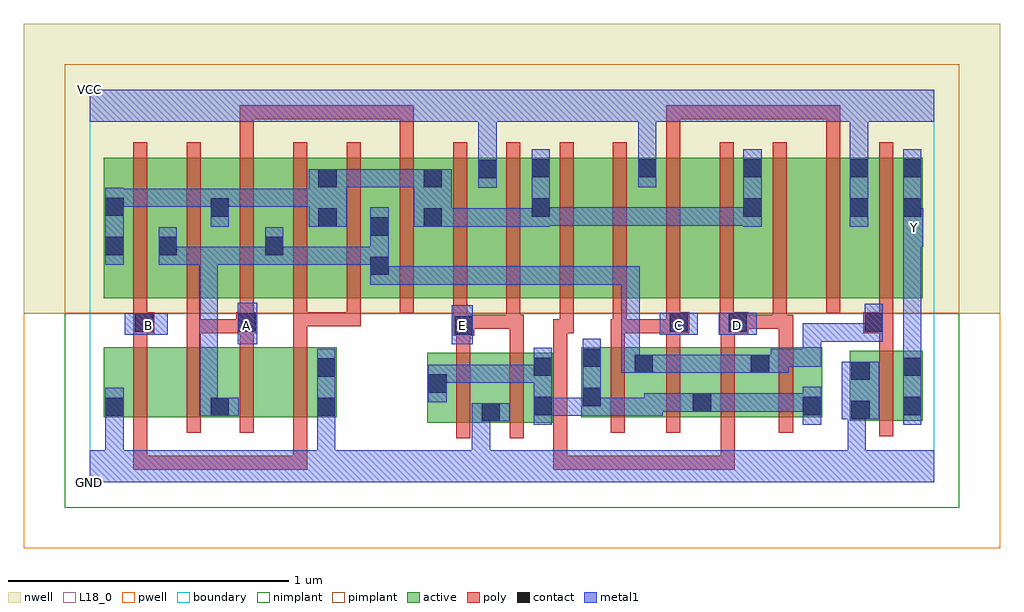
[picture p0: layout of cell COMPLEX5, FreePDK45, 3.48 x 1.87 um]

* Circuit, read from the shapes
.subckt COMPLEX5 A B C D E GND VCC Y
M1 n1 B GND VSUBS nfet w=0.25u l=0.05u
M2 n2 A n1 VSUBS nfet w=0.25u l=0.05u
M3 n3 A n2 VSUBS nfet w=0.25u l=0.05u
M4 GND B n3 VSUBS nfet w=0.25u l=0.05u
M5 GND E n4 VSUBS nfet w=0.25u l=0.05u m=2
M6 n2 C n4 VSUBS nfet w=0.25u l=0.05u m=2
M7 n2 D n4 VSUBS nfet w=0.25u l=0.05u m=2
M8 Y n2 GND VSUBS nfet w=0.25u l=0.05u
M9 n2 B n5 n6 pfet w=0.5u l=0.05u m=3
M10 n5 A n2 n6 pfet w=0.5u l=0.05u m=3
M11 VCC E n5 n6 pfet w=0.5u l=0.05u m=2
M12 n7 D n5 n6 pfet w=0.5u l=0.05u
M13 VCC C n7 n6 pfet w=0.5u l=0.05u
M14 n8 C VCC n6 pfet w=0.5u l=0.05u
M15 n5 D n8 n6 pfet w=0.5u l=0.05u
M16 n9 D n5 n6 pfet w=0.5u l=0.05u
M17 VCC C n9 n6 pfet w=0.5u l=0.05u
M18 Y n2 VCC n6 pfet w=0.5u l=0.05u
.ends

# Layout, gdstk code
import gdstk
lib = gdstk.Library(unit=1e-6, precision=1e-09)
def R(c, l, rs):  # rectangles x0, y0, x1, y1
    for r in rs: c.add(gdstk.rectangle(r[:2], r[2:], *l))
def A(c, l, x, y, w, h, nx, ny, dx, dy):  # array of equal rectangles
    R(c, l, [(x+i*dx, y+j*dy, x+i*dx+w, y+j*dy+h) for i in range(nx) for j in range(ny)])
active = (1, 0)
pwell = (2, 0)
nwell = (3, 0)
nimplant = (4, 0)
pimplant = (5, 0)
poly = (9, 0)
contact = (10, 0)
metal1 = (11, 0)
L18_0 = (18, 0)
boundary = (235, 0)

complex5 = lib.new_cell('COMPLEX5')
R(complex5, active, [(1.202,0.212,1.467,0.462), (1.392,0.212,1.652,0.462), (1.392,0.212,1.467,0.342), (1.577,0.212,1.652,0.462), (2.71,0.22,2.97,0.47), (2.71,0.22,2.785,0.47), (0.05,0.232,0.125,0.482), (0.05,0.232,0.275,0.482), (0.275,0.232,0.5,0.482), (0.425,0.232,0.5,0.467), (0.425,0.232,0.655,0.482), (0.655,0.232,0.88,0.482), (0.805,0.232,0.88,0.482), (1.752,0.232,2.012,0.482), (1.752,0.232,1.827,0.482), (1.937,0.232,2.22,0.482), (2.145,0.232,2.427,0.482), (2.352,0.232,2.612,0.482), (2.537,0.232,2.612,0.482), (2.895,0.235,2.97,0.47), (2.145,0.247,2.22,0.405), (1.202,0.257,1.277,0.462), (1.937,0.297,2.012,0.467), (2.352,0.297,2.427,0.46), (0.05,0.657,0.125,1.157), (0.05,0.657,0.315,1.157), (0.24,0.657,0.315,1.07), (0.24,0.657,0.5,1.157), (0.425,0.657,0.695,1.157), (0.62,0.657,0.885,1.157), (0.62,0.657,0.695,1.07), (0.81,0.657,0.885,1.157), (0.81,0.657,1.07,1.157), (0.995,0.657,1.26,1.157), (0.995,0.657,1.07,1.07), (1.185,0.657,1.26,1.157), (1.185,0.657,1.455,1.157), (1.38,0.657,1.645,1.157), (1.57,0.657,1.645,1.157), (1.57,0.657,1.795,1.157), (1.795,0.657,2.025,1.157), (1.95,0.657,2.175,1.157), (2.175,0.657,2.4,1.157), (2.325,0.657,2.4,1.157), (2.325,0.657,2.555,1.157), (2.555,0.657,2.78,1.157), (2.705,0.657,2.78,1.157), (2.705,0.657,2.97,1.157), (2.895,0.657,2.97,1.157), (0.425,0.777,0.5,1.157), (1.38,0.782,1.455,1.157), (1.95,0.782,2.025,1.157)])
R(complex5, pwell, [(-0.235,-0.235,3.245,0.602)])
R(complex5, nwell, [(-0.235,0.602,3.245,1.635)])
R(complex5, nimplant, [(-0.09,-0.09,3.1,0.602)])
R(complex5, pimplant, [(-0.09,0.602,3.1,1.49)])
A(complex5, poly, 0.155, 0.177, 0.05, 0.36, 4, 1, 0.19, 0)
A(complex5, poly, 0.155, 0.487, 0.05, 0.095, 3, 1, 0.19, 0)
A(complex5, poly, 0.535, 0.557, 0.05, 0.095, 3, 1, 0.19, 0)
A(complex5, poly, 0.155, 0.602, 0.05, 0.61, 15, 1, 0.19, 0)
R(complex5, poly, [(0.155,0.045,0.205,0.095), (0.155,0.045,0.205,0.095), (0.155,0.045,0.205,0.095), (0.155,0.045,0.205,0.227), (0.155,0.045,0.362,0.095), (0.312,0.045,0.362,0.095), (0.312,0.045,0.362,0.095), (0.312,0.045,0.362,0.095), (0.312,0.045,0.585,0.095), (0.535,0.045,0.585,0.095), (0.535,0.045,0.775,0.095), (0.725,0.045,0.775,0.095), (0.725,0.045,0.775,0.095), (0.725,0.045,0.775,0.095), (0.725,0.045,0.775,0.227), (1.652,0.045,1.702,0.095), (1.652,0.045,1.702,0.095), (1.652,0.045,1.702,0.095), (1.652,0.045,1.702,0.095), (1.652,0.045,1.702,0.095), (1.652,0.045,1.702,0.095), (1.652,0.045,1.702,0.095), (1.652,0.045,1.915,0.095), (1.652,0.045,1.702,0.582), (1.865,0.045,1.915,0.095), (1.865,0.045,1.915,0.095), (1.865,0.045,1.915,0.095), (1.865,0.045,2.047,0.095), (1.997,0.045,2.047,0.095), (1.997,0.045,2.047,0.095), (1.997,0.045,2.047,0.095), (1.997,0.045,2.3,0.095), (2.25,0.045,2.3,0.095), (2.25,0.045,2.3,0.227), (1.307,0.157,1.357,0.517), (1.497,0.157,1.547,0.517), (2.815,0.165,2.865,0.525), (1.857,0.177,1.907,0.537), (2.055,0.177,2.105,0.537), (2.25,0.177,2.3,0.537), (2.457,0.177,2.507,0.537), (1.307,0.467,1.357,0.572), (1.497,0.467,1.547,0.597), (2.815,0.475,2.865,0.582), (0.725,0.487,0.775,0.607), (1.857,0.487,1.907,0.582), (2.055,0.487,2.105,0.582), (2.25,0.487,2.3,0.582), (2.457,0.487,2.507,0.597), (1.295,0.522,1.37,0.597), (0.155,0.532,0.23,0.607), (0.345,0.532,0.395,0.582), (0.345,0.532,0.395,0.652), (0.345,0.532,0.572,0.582), (0.522,0.532,0.572,0.582), (0.522,0.532,0.572,0.582), (0.522,0.532,0.597,0.607), (1.652,0.532,1.725,0.582), (1.675,0.532,1.725,0.652), (1.857,0.532,1.915,0.582), (1.865,0.532,1.915,0.582), (1.865,0.532,1.915,0.582), (1.865,0.532,2.105,0.582), (1.865,0.532,1.915,0.652), (2.055,0.532,2.137,0.607), (2.245,0.532,2.347,0.607), (2.757,0.532,2.865,0.607), (1.295,0.547,1.345,0.652), (1.32,0.547,1.37,0.597), (1.32,0.547,1.37,0.597), (1.32,0.547,1.535,0.597), (1.485,0.547,1.535,0.652), (1.485,0.547,1.547,0.597), (2.297,0.547,2.485,0.597), (2.435,0.547,2.485,0.597), (2.435,0.547,2.485,0.597), (2.435,0.547,2.485,0.652), (2.435,0.547,2.507,0.597), (0.155,0.557,0.205,0.652), (0.725,0.557,0.775,0.607), (0.725,0.557,0.965,0.607), (0.915,0.557,0.965,0.607), (0.915,0.557,0.965,0.607), (0.915,0.557,0.965,0.607), (2.055,0.557,2.105,0.652), (2.245,0.557,2.295,0.652), (2.815,0.557,2.865,0.652), (0.535,1.162,0.585,1.345), (1.105,1.162,1.155,1.345), (2.055,1.162,2.105,1.345), (2.625,1.162,2.675,1.345), (0.535,1.295,0.585,1.345), (0.535,1.295,0.717,1.345), (0.667,1.295,0.717,1.345), (0.667,1.295,0.717,1.345), (0.667,1.295,0.717,1.345), (0.667,1.295,0.907,1.345), (0.857,1.295,0.907,1.345), (0.857,1.295,0.907,1.345), (0.857,1.295,0.907,1.345), (0.857,1.295,1.155,1.345), (1.105,1.295,1.155,1.345), (1.105,1.295,1.155,1.345), (1.105,1.295,1.155,1.345), (2.055,1.295,2.105,1.345), (2.055,1.295,2.105,1.345), (2.055,1.295,2.105,1.345), (2.055,1.295,2.347,1.345), (2.297,1.295,2.347,1.345), (2.297,1.295,2.347,1.345), (2.297,1.295,2.347,1.345), (2.297,1.295,2.48,1.345), (2.43,1.295,2.48,1.345), (2.43,1.295,2.675,1.345), (2.625,1.295,2.675,1.345), (2.625,1.295,2.675,1.345), (2.625,1.295,2.675,1.345)])
R(complex5, contact, [(1.397,0.217,1.462,0.282), (2.715,0.225,2.78,0.29), (0.055,0.237,0.12,0.302), (0.43,0.237,0.495,0.302), (0.81,0.237,0.875,0.302), (1.582,0.24,1.647,0.305), (2.542,0.24,2.607,0.305), (2.9,0.24,2.965,0.305), (2.15,0.252,2.215,0.317), (1.757,0.272,1.822,0.337), (1.207,0.32,1.272,0.385), (2.715,0.365,2.78,0.43), (0.81,0.377,0.875,0.442), (1.582,0.38,1.647,0.445), (2.9,0.38,2.965,0.445), (1.942,0.39,2.007,0.455), (2.357,0.39,2.422,0.455), (1.757,0.412,1.822,0.477), (1.3,0.527,1.365,0.592), (0.16,0.537,0.225,0.602), (0.527,0.537,0.592,0.602), (2.067,0.537,2.132,0.602), (2.277,0.537,2.342,0.602), (2.762,0.537,2.827,0.602), (1,0.74,1.065,0.805), (0.055,0.81,0.12,0.875), (0.245,0.81,0.31,0.875), (0.625,0.81,0.69,0.875), (1,0.88,1.065,0.945), (0.815,0.912,0.88,0.977), (1.19,0.912,1.255,0.977), (0.43,0.947,0.495,1.012), (1.575,0.947,1.64,1.012), (2.33,0.947,2.395,1.012), (2.71,0.947,2.775,1.012), (2.9,0.947,2.965,1.012), (0.055,0.95,0.12,1.015), (0.815,1.052,0.88,1.117), (1.19,1.052,1.255,1.117), (1.385,1.085,1.45,1.15), (1.575,1.087,1.64,1.152), (1.955,1.087,2.02,1.152), (2.33,1.087,2.395,1.152), (2.71,1.087,2.775,1.152), (2.9,1.087,2.965,1.152)])
R(complex5, metal1, [(0,0,3.01,0.115), (0.055,0.05,0.12,0.267), (0.81,0.05,0.875,0.115), (0.81,0.05,0.875,0.115), (0.81,0.05,0.875,0.115), (0.81,0.05,0.875,0.115), (0.81,0.05,0.875,0.267), (1.362,0.05,1.427,0.115), (1.362,0.05,1.427,0.115), (1.362,0.05,1.427,0.115), (1.362,0.05,1.427,0.115), (1.362,0.05,1.427,0.282), (2.702,0.05,2.767,0.115), (2.702,0.05,2.767,0.115), (2.702,0.05,2.767,0.29), (0.055,0.202,0.12,0.267), (0.055,0.202,0.12,0.267), (0.055,0.202,0.12,0.267), (0.055,0.202,0.12,0.267), (0.055,0.202,0.12,0.337), (0.81,0.202,0.875,0.477), (1.582,0.205,1.647,0.48), (2.542,0.205,2.607,0.34), (2.9,0.205,2.965,0.48), (1.362,0.217,1.497,0.282), (2.68,0.225,2.815,0.43), (2.702,0.225,2.767,0.29), (2.702,0.225,2.767,0.29), (0.39,0.237,0.455,0.84), (0.39,0.237,0.53,0.302), (1.582,0.237,1.647,0.302), (1.582,0.237,1.647,0.302), (1.582,0.237,1.822,0.302), (1.757,0.237,1.822,0.302), (1.757,0.237,1.822,0.302), (1.757,0.237,1.822,0.302), (1.757,0.237,1.822,0.302), (1.757,0.237,1.822,0.512), (1.757,0.237,2.042,0.302), (1.977,0.237,2.042,0.302), (1.977,0.237,2.042,0.302), (1.977,0.237,2.042,0.317), (1.977,0.252,2.18,0.317), (2.115,0.252,2.25,0.317), (2.185,0.252,2.25,0.317), (2.185,0.252,2.25,0.317), (2.185,0.252,2.47,0.317), (2.405,0.252,2.47,0.317), (2.405,0.252,2.47,0.317), (2.405,0.252,2.47,0.317), (2.405,0.252,2.607,0.317), (1.207,0.285,1.272,0.42), (1.207,0.355,1.272,0.42), (1.207,0.355,1.272,0.42), (1.207,0.355,1.502,0.42), (1.437,0.355,1.502,0.42), (1.437,0.355,1.502,0.42), (1.437,0.355,1.502,0.42), (1.437,0.355,1.647,0.42), (1.895,0.39,1.96,0.77), (1.895,0.39,2.042,0.455), (1.977,0.39,2.042,0.455), (1.977,0.39,2.042,0.455), (1.977,0.39,2.207,0.455), (2.142,0.39,2.207,0.455), (2.142,0.39,2.207,0.455), (2.142,0.39,2.207,0.455), (2.142,0.39,2.387,0.455), (2.322,0.39,2.457,0.455), (2.392,0.39,2.492,0.455), (2.427,0.39,2.492,0.477), (2.427,0.412,2.607,0.477), (2.542,0.412,2.607,0.477), (2.542,0.412,2.607,0.567), (2.9,0.415,2.965,0.907), (0.527,0.492,0.597,0.64), (1.29,0.492,1.365,0.632), (2.542,0.502,2.607,0.567), (2.542,0.502,2.63,0.567), (2.565,0.502,2.63,0.567), (2.565,0.502,2.827,0.567), (2.762,0.502,2.827,0.567), (2.762,0.502,2.827,0.567), (2.762,0.502,2.827,0.637), (0.125,0.527,0.277,0.602), (2.032,0.527,2.167,0.605), (2.242,0.527,2.377,0.605), (1,0.705,1.065,0.77), (1,0.705,1.065,0.77), (1,0.705,1.065,0.98), (1,0.705,1.202,0.77), (1.137,0.705,1.202,0.77), (1.137,0.705,1.202,0.77), (1.137,0.705,1.202,0.77), (1.137,0.705,1.502,0.77), (1.437,0.705,1.502,0.77), (1.437,0.705,1.502,0.77), (1.437,0.705,1.502,0.77), (1.437,0.705,1.502,0.77), (1.437,0.705,1.502,0.77), (1.437,0.705,1.685,0.77), (1.62,0.705,1.685,0.77), (1.62,0.705,1.685,0.77), (1.62,0.705,1.685,0.77), (1.62,0.705,1.822,0.77), (1.757,0.705,1.822,0.77), (1.757,0.705,1.822,0.77), (1.757,0.705,1.822,0.77), (1.757,0.705,1.96,0.77), (1.895,0.705,1.96,0.77), (0.055,0.775,0.12,1.05), (0.245,0.775,0.31,0.84), (0.245,0.775,0.31,0.84), (0.245,0.775,0.31,0.91), (0.245,0.775,0.455,0.84), (0.39,0.775,0.455,0.84), (0.39,0.775,0.455,0.84), (0.39,0.775,0.455,0.84), (0.39,0.775,0.455,0.84), (0.39,0.775,0.455,0.84), (0.39,0.775,0.69,0.84), (0.625,0.775,0.69,0.84), (0.625,0.775,0.69,0.84), (0.625,0.775,0.69,0.91), (0.625,0.775,0.927,0.84), (0.862,0.775,0.927,0.84), (0.862,0.775,0.927,0.84), (0.862,0.775,0.927,0.84), (0.862,0.775,1.065,0.84), (2.9,0.842,2.972,0.977), (0.43,0.912,0.495,1.047), (0.78,0.912,0.915,1.117), (1.155,0.912,1.29,1.117), (1.225,0.912,1.29,0.977), (1.225,0.912,1.29,0.977), (1.225,0.912,1.502,0.977), (1.437,0.912,1.502,0.977), (1.437,0.912,1.502,0.977), (1.437,0.912,1.502,0.977), (1.437,0.912,1.64,0.977), (1.575,0.912,1.64,1.187), (2.33,0.912,2.395,1.187), (2.71,0.912,2.775,1.187), (2.9,0.912,2.965,0.977), (2.9,0.912,2.965,1.187), (1.575,0.915,1.64,0.98), (1.575,0.915,1.64,0.98), (1.575,0.915,1.822,0.98), (1.757,0.915,1.822,0.98), (1.757,0.915,1.822,0.98), (1.757,0.915,1.822,0.98), (1.757,0.915,1.96,0.98), (1.895,0.915,1.96,0.98), (1.895,0.915,1.96,0.98), (1.895,0.915,1.96,0.98), (1.895,0.915,2.25,0.98), (2.185,0.915,2.25,0.98), (2.185,0.915,2.25,0.98), (2.185,0.915,2.25,0.98), (2.185,0.915,2.395,0.98), (0.055,0.982,0.12,1.047), (0.055,0.982,0.12,1.047), (0.055,0.982,0.257,1.047), (0.192,0.982,0.257,1.047), (0.192,0.982,0.257,1.047), (0.192,0.982,0.257,1.047), (0.192,0.982,0.495,1.047), (0.43,0.982,0.495,1.047), (0.43,0.982,0.495,1.047), (0.43,0.982,0.632,1.047), (0.567,0.982,0.632,1.047), (0.567,0.982,0.632,1.047), (0.567,0.982,0.632,1.047), (0.567,0.982,0.845,1.047), (1.385,1.05,1.45,1.185), (0.85,1.052,0.915,1.117), (0.85,1.052,0.915,1.117), (0.85,1.052,1.065,1.117), (1,1.052,1.065,1.117), (1,1.052,1.065,1.117), (1,1.052,1.065,1.117), (1,1.052,1.22,1.117), (1.955,1.052,2.02,1.187), (1.385,1.12,1.45,1.185), (1.385,1.12,1.45,1.185), (1.385,1.12,1.45,1.35), (1.955,1.122,2.02,1.187), (1.955,1.122,2.02,1.187), (1.955,1.122,2.02,1.35), (2.71,1.122,2.775,1.35), (0,1.285,3.01,1.4), (2.71,1.285,2.775,1.35), (2.71,1.285,2.775,1.35)])
A(complex5, L18_0, 0.527, 0.527, 0.065, 0.065, 3, 1, 0.77, 0)
R(complex5, L18_0, [(0,0,3.01,0.115), (0.055,0.05,0.12,0.267), (0.81,0.05,0.875,0.115), (0.81,0.05,0.875,0.115), (0.81,0.05,0.875,0.115), (0.81,0.05,0.875,0.115), (0.81,0.05,0.875,0.267), (1.362,0.05,1.427,0.115), (1.362,0.05,1.427,0.115), (1.362,0.05,1.427,0.115), (1.362,0.05,1.427,0.115), (1.362,0.05,1.427,0.282), (2.702,0.05,2.767,0.115), (2.702,0.05,2.767,0.115), (2.702,0.05,2.767,0.29), (0.055,0.202,0.12,0.267), (0.055,0.202,0.12,0.267), (0.055,0.202,0.12,0.267), (0.055,0.202,0.12,0.267), (0.055,0.202,0.12,0.337), (0.81,0.202,0.875,0.477), (2.9,0.205,2.965,0.48), (1.362,0.217,1.497,0.282), (2.68,0.225,2.815,0.43), (2.702,0.225,2.767,0.29), (2.702,0.225,2.767,0.29), (2.9,0.415,2.965,0.907), (0.527,0.492,0.597,0.64), (1.29,0.492,1.365,0.632), (0.125,0.527,0.277,0.602), (0.177,0.527,0.242,0.592), (2.032,0.527,2.167,0.605), (2.242,0.527,2.377,0.605), (2.277,0.527,2.342,0.592), (2.9,0.842,2.972,0.977), (2.907,0.877,2.972,0.942), (2.71,0.912,2.775,1.187), (2.9,0.912,2.965,0.977), (2.9,0.912,2.965,1.187), (1.385,1.05,1.45,1.185), (1.955,1.052,2.02,1.187), (1.385,1.12,1.45,1.185), (1.385,1.12,1.45,1.185), (1.385,1.12,1.45,1.35), (1.955,1.122,2.02,1.187), (1.955,1.122,2.02,1.187), (1.955,1.122,2.02,1.35), (2.71,1.122,2.775,1.35), (0,1.285,3.01,1.4), (2.71,1.285,2.775,1.35), (2.71,1.285,2.775,1.35)])
R(complex5, boundary, [(0,0,3.01,1.4)])
complex5.add(gdstk.Label('A', (0.56,0.56), layer=11, texttype=0))
complex5.add(gdstk.Label('B', (0.21,0.56), layer=11, texttype=0))
complex5.add(gdstk.Label('C', (2.1,0.56), layer=11, texttype=0))
complex5.add(gdstk.Label('D', (2.31,0.56), layer=11, texttype=0))
complex5.add(gdstk.Label('E', (1.33,0.56), layer=11, texttype=0))
complex5.add(gdstk.Label('Y', (2.94,0.91), layer=11, texttype=0))
complex5.add(gdstk.Label('VCC', (0,1.4), layer=11, texttype=0))
complex5.add(gdstk.Label('GND', (0,0), layer=11, texttype=0))

lib.write_gds('COMPLEX5.gds')
